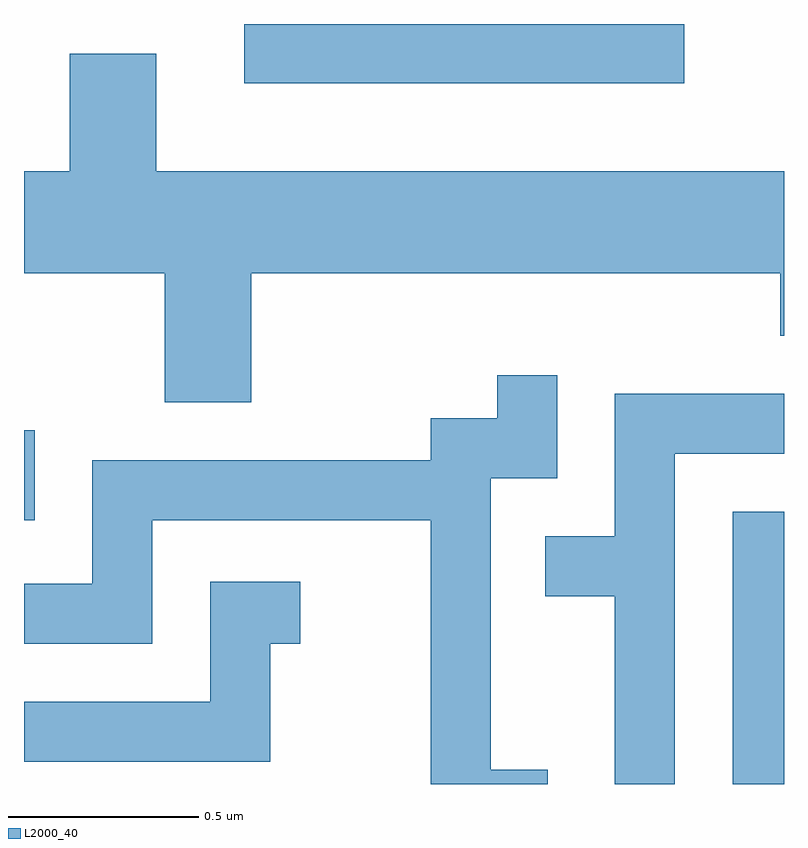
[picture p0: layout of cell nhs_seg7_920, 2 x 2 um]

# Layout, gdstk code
import gdstk
lib = gdstk.Library(unit=1e-6, precision=1e-09)
def R(c, l, rs):  # rectangles x0, y0, x1, y1
    for r in rs: c.add(gdstk.rectangle(r[:2], r[2:], *l))
def P(c, l, *ps):  # polygons
    for p in ps: c.add(gdstk.Polygon(p, *l))
L2000_40 = (2000, 40)

nhs_seg7_920 = lib.new_cell('nhs_seg7_920')
R(nhs_seg7_920, L2000_40, [(193.476,1766.252,193.611,1766.969), (191.611,1766.946,191.639,1767.183), (192.191,1768.096,193.348,1768.252)])
P(nhs_seg7_920, L2000_40, [(192.209,1767.596),(193.601,1767.596),(193.601,1767.431),(193.611,1767.431),(193.611,1767.864),(191.959,1767.864),(191.959,1768.174),(191.731,1768.174),(191.731,1767.864),(191.611,1767.864),(191.611,1767.596),(191.981,1767.596),(191.981,1767.256),(192.209,1767.256)],
  [(192.989,1766.289),(192.839,1766.289),(192.839,1767.056),(193.014,1767.056),(193.014,1767.328),(192.856,1767.328),(192.856,1767.214),(192.681,1767.214),(192.681,1767.104),(191.791,1767.104),(191.791,1766.779),(191.611,1766.779),(191.611,1766.621),(191.949,1766.621),(191.949,1766.946),(192.681,1766.946),(192.681,1766.252),(192.989,1766.252)],
  [(193.324,1767.121),(193.611,1767.121),(193.611,1767.279),(193.166,1767.279),(193.166,1766.904),(192.983,1766.904),(192.983,1766.746),(193.166,1766.746),(193.166,1766.252),(193.324,1766.252)],
  [(192.259,1766.621),(192.338,1766.621),(192.338,1766.784),(192.101,1766.784),(192.101,1766.469),(191.611,1766.469),(191.611,1766.311),(192.259,1766.311)])

lib.write_gds('nhs_seg7_920.gds')
